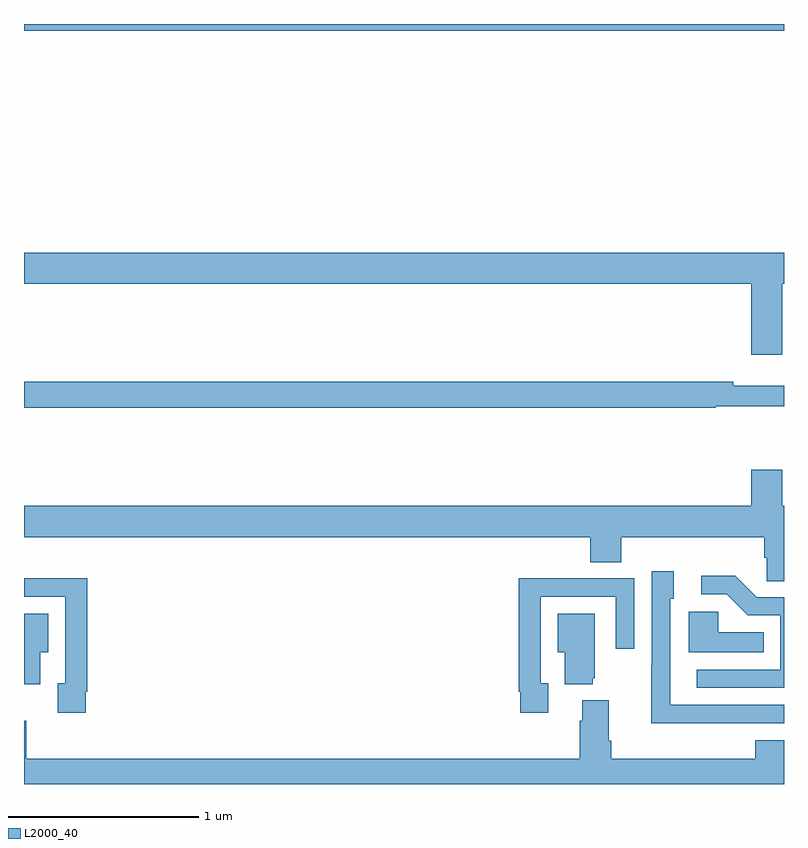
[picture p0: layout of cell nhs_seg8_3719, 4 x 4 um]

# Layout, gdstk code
import gdstk
lib = gdstk.Library(unit=1e-6, precision=1e-09)
def R(c, l, rs):  # rectangles x0, y0, x1, y1
    for r in rs: c.add(gdstk.rectangle(r[:2], r[2:], *l))
def P(c, l, *ps):  # polygons
    for p in ps: c.add(gdstk.Polygon(p, *l))
L2000_40 = (2000, 40)

nhs_seg8_3719 = lib.new_cell('nhs_seg8_3719')
R(nhs_seg8_3719, L2000_40, [(341,1085.864,345,1085.9)])
P(nhs_seg8_3719, L2000_40, [(344.992,1084.532),(345,1084.532),(345,1084.696),(341,1084.696),(341,1084.532),(344.828,1084.532),(344.828,1084.158),(344.992,1084.158)],
  [(344.642,1083.888),(345,1083.888),(345,1083.997),(344.732,1083.997),(344.732,1084.016),(341,1084.016),(341,1083.88),(344.642,1083.88)],
  [(345,1083.364),(344.992,1083.364),(344.992,1083.553),(344.828,1083.553),(344.828,1083.364),(341,1083.364),(341,1083.2),(343.979,1083.2),(343.979,1083.067),(344.144,1083.067),(344.144,1083.2),(344.897,1083.2),(344.897,1083.091),(344.91,1083.091),(344.91,1082.968),(345,1082.968)],
  [(344.765,1082.22),(345,1082.22),(345,1082.316),(344.401,1082.316),(344.401,1082.558),(344.4,1082.558),(344.4,1082.874),(344.419,1082.874),(344.419,1083.019),(344.304,1083.019),(344.304,1082.525),(344.302,1082.525),(344.302,1082.219),(344.765,1082.219)],
  [(345,1082.883),(344.856,1082.883),(344.743,1082.996),(344.565,1082.996),(344.565,1082.898),(344.699,1082.898),(344.81,1082.787),(344.979,1082.787),(344.979,1082.502),(344.541,1082.502),(344.541,1082.406),(345,1082.406)],
  [(343.759,1082.43),(343.719,1082.43),(343.719,1082.886),(344.115,1082.886),(344.115,1082.613),(344.211,1082.613),(344.211,1082.982),(343.895,1082.982),(343.895,1082.984),(343.603,1082.984),(343.603,1082.386),(343.611,1082.386),(343.611,1082.274),(343.759,1082.274)],
  [(341.326,1082.386),(341.333,1082.386),(341.333,1082.984),(341.041,1082.984),(341.041,1082.982),(341,1082.982),(341,1082.886),(341.217,1082.886),(341.217,1082.43),(341.177,1082.43),(341.177,1082.274),(341.326,1082.274)],
  [(344.894,1082.698),(344.655,1082.698),(344.655,1082.806),(344.498,1082.806),(344.498,1082.594),(344.894,1082.594)],
  [(343.994,1082.457),(344.005,1082.457),(344.005,1082.797),(343.808,1082.797),(343.808,1082.594),(343.847,1082.594),(343.847,1082.426),(343.994,1082.426)],
  [(341.086,1082.594),(341.128,1082.594),(341.128,1082.797),(341,1082.797),(341,1082.426),(341.086,1082.426)],
  [(345,1082.131),(344.849,1082.131),(344.849,1082.032),(344.09,1082.032),(344.09,1082.128),(344.077,1082.128),(344.077,1082.341),(343.937,1082.341),(343.937,1082.234),(343.925,1082.234),(343.925,1082.032),(341.012,1082.032),(341.012,1082.234),(341,1082.234),(341,1081.9),(345,1081.9)])

lib.write_gds('nhs_seg8_3719.gds')
